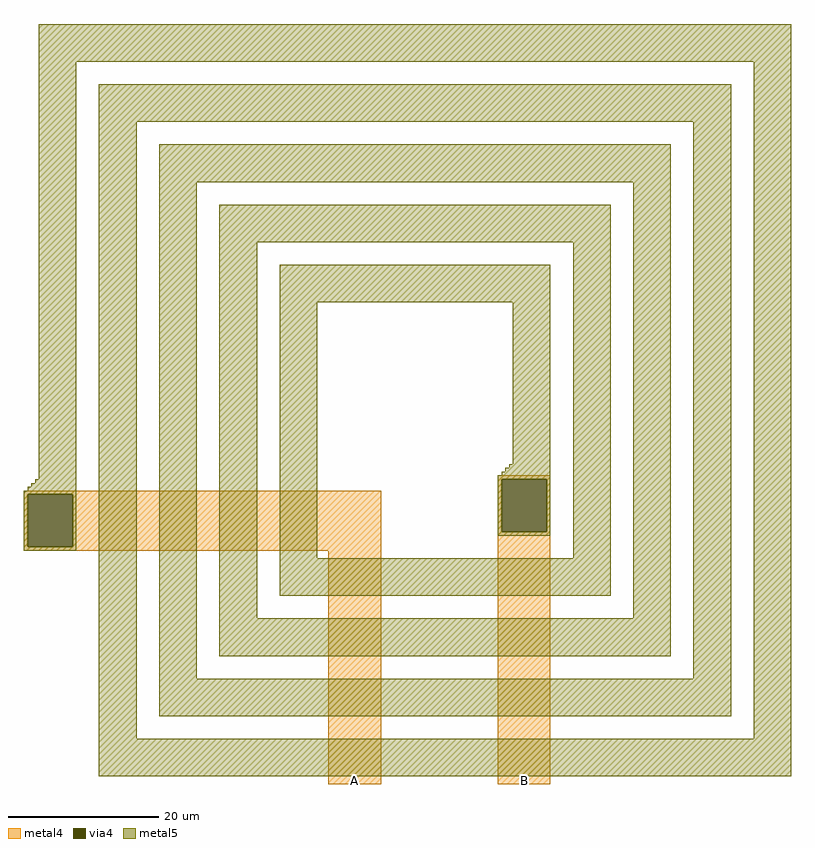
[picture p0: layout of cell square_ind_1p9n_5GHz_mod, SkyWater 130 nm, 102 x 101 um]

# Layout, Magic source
magic
tech sky130B
<< metal4 >>
rect 6100 3950 6800 4000
rect -200 3750 4550 3800
rect -200 3050 -150 3750
rect 450 3050 4550 3750
rect -200 3000 4550 3050
rect 3850 -100 4550 3000
rect 6100 3250 6150 3950
rect 6750 3250 6800 3950
rect 6100 -100 6800 3250
<< via4 >>
rect -150 3050 450 3750
rect 6150 3250 6750 3950
<< metal5 >>
rect 0 9500 10000 10000
rect 0 3950 500 9500
rect -50 3900 500 3950
rect -100 3850 500 3900
rect -150 3800 500 3850
rect -200 3750 500 3800
rect -200 3050 -150 3750
rect 450 3050 500 3750
rect -200 3000 500 3050
rect 800 8700 9200 9200
rect 800 500 1300 8700
rect 1600 7900 8400 8400
rect 1600 1300 2100 7900
rect 2400 7100 7600 7600
rect 2400 2100 2900 7100
rect 3200 6300 6800 6800
rect 3200 2900 3700 6300
rect 6300 4150 6800 6300
rect 6250 4100 6800 4150
rect 6200 4050 6800 4100
rect 6150 4000 6800 4050
rect 6100 3950 6800 4000
rect 6100 3250 6150 3950
rect 6750 3250 6800 3950
rect 6100 3200 6800 3250
rect 7100 2900 7600 7100
rect 3200 2400 7600 2900
rect 7900 2100 8400 7900
rect 2400 1600 8400 2100
rect 8700 1300 9200 8700
rect 1600 800 9200 1300
rect 9500 500 10000 9500
rect 800 0 10000 500
<< labels >>
rlabel metal4 3850 -100 4550 0 1 A
rlabel metal4 6100 -100 6800 0 1 B
<< end >>
